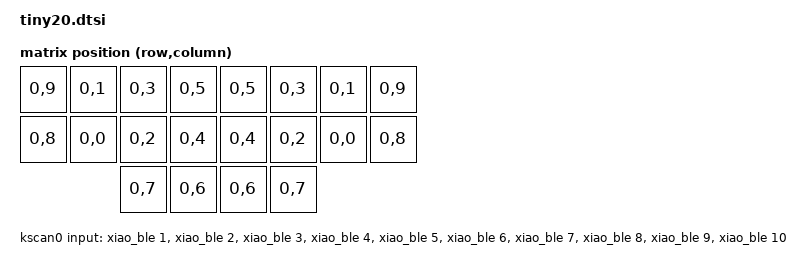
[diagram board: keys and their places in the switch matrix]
#include <dt-bindings/zmk/matrix_transform.h>

/ {
    chosen {
        zmk,kscan = &kscan0;
        zmk,matrix_transform = &default_transform;
    };

    default_transform: keymap_transform_0 {
        compatible = "zmk,matrix-transform";
        columns = <10>;
        rows = <1>;
        // | SW10 | SW2  | SW4  | SW6  |   | SW6  | SW4  | SW2  | SW10 |
        // | SW9  | SW1  | SW3  | SW5  |   | SW5  | SW3  | SW1  | SW9  |
        //               | SW8  | SW7  |   | SW7  | SW8  |
        map = <
            RC(0,9) RC(0,1) RC(0,3) RC(0,5) RC(0,5) RC(0,3) RC(0,1) RC(0,9)
            RC(0,8) RC(0,0) RC(0,2) RC(0,4) RC(0,4) RC(0,2) RC(0,0) RC(0,8)
                            RC(0,7) RC(0,6) RC(0,6) RC(0,7)
        >;
    };

    kscan0: kscan {
        compatible = "zmk,kscan-gpio-direct";
        wakeup-source;
        input-gpios
            = <&xiao_ble 1 (GPIO_ACTIVE_HIGH | GPIO_PULL_DOWN)>
            , <&xiao_ble 2 (GPIO_ACTIVE_HIGH | GPIO_PULL_DOWN)>
            , <&xiao_ble 3 (GPIO_ACTIVE_HIGH | GPIO_PULL_DOWN)>
            , <&xiao_ble 4 (GPIO_ACTIVE_HIGH | GPIO_PULL_DOWN)>
            , <&xiao_ble 5 (GPIO_ACTIVE_HIGH | GPIO_PULL_DOWN)>
            , <&xiao_ble 6 (GPIO_ACTIVE_HIGH | GPIO_PULL_DOWN)>
            , <&xiao_ble 7 (GPIO_ACTIVE_HIGH | GPIO_PULL_DOWN)>
            , <&xiao_ble 8 (GPIO_ACTIVE_HIGH | GPIO_PULL_DOWN)>
            , <&xiao_ble 9 (GPIO_ACTIVE_HIGH | GPIO_PULL_DOWN)>
            , <&xiao_ble 10 (GPIO_ACTIVE_HIGH | GPIO_PULL_DOWN)>
            ;
    };
}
